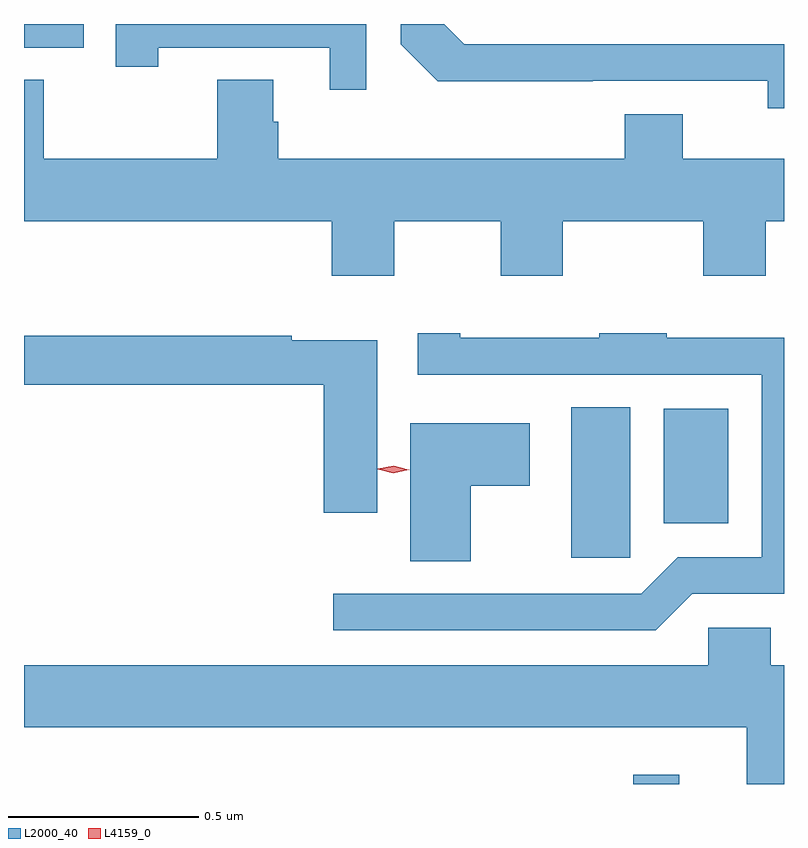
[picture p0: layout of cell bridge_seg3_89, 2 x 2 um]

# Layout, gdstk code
import gdstk
lib = gdstk.Library(unit=1e-6, precision=1e-09)
def R(c, l, rs):  # rectangles x0, y0, x1, y1
    for r in rs: c.add(gdstk.rectangle(r[:2], r[2:], *l))
def P(c, l, *ps):  # polygons
    for p in ps: c.add(gdstk.Polygon(p, *l))
L2000_40 = (2000, 40)
L4159_0 = (4159, 0)

bridge_seg3_89 = lib.new_cell('bridge_seg3_89')
R(bridge_seg3_89, L2000_40, [(421.902,723.411,422.023,723.436), (421.739,724.007,421.894,724.403), (421.982,724.097,422.152,724.399), (420.299,725.349,420.456,725.411)])
P(bridge_seg3_89, L2000_40, [(421.2,725.411),(420.541,725.411),(420.541,725.298),(420.652,725.298),(420.652,725.349),(421.103,725.349),(421.103,725.238),(421.2,725.238)],
  [(422.299,725.358),(421.458,725.358),(421.405,725.411),(421.29,725.411),(421.29,725.358),(421.388,725.261),(421.796,725.261),(421.796,725.262),(422.256,725.262),(422.256,725.189),(422.299,725.189)],
  [(421.273,724.892),(421.553,724.892),(421.553,724.749),(421.717,724.749),(421.717,724.892),(422.087,724.892),(422.087,724.749),(422.251,724.749),(422.251,724.892),(422.299,724.892),(422.299,725.056),(422.032,725.056),(422.032,725.173),(421.88,725.173),(421.88,725.056),(420.968,725.056),(420.968,725.154),(420.955,725.154),(420.955,725.264),(420.808,725.264),(420.808,725.056),(420.351,725.056),(420.351,725.264),(420.299,725.264),(420.299,724.892),(421.109,724.892),(421.109,724.749),(421.273,724.749)],
  [(422.058,723.912),(422.299,723.912),(422.299,724.585),(421.991,724.585),(421.991,724.597),(421.813,724.597),(421.813,724.585),(421.447,724.585),(421.447,724.597),(421.335,724.597),(421.335,724.488),(422.241,724.488),(422.241,724.008),(422.019,724.008),(421.923,723.912),(421.113,723.912),(421.113,723.816),(421.962,723.816)],
  [(421.228,724.579),(421.004,724.579),(421.004,724.591),(420.299,724.591),(420.299,724.462),(421.088,724.462),(421.088,724.125),(421.228,724.125)],
  [(421.474,724.196),(421.63,724.196),(421.63,724.36),(421.316,724.36),(421.316,723.997),(421.474,723.997)],
  [(422.299,723.724),(422.264,723.724),(422.264,723.822),(422.1,723.822),(422.1,723.724),(420.299,723.724),(420.299,723.56),(422.201,723.56),(422.201,723.411),(422.299,723.411)])
P(bridge_seg3_89, L4159_0, [(421.271,724.229),(421.23,724.239),(421.23,724.24),(421.23,724.24),(421.272,724.249),(421.312,724.238),(421.313,724.238),(421.312,724.238)])

lib.write_gds('bridge_seg3_89.gds')
